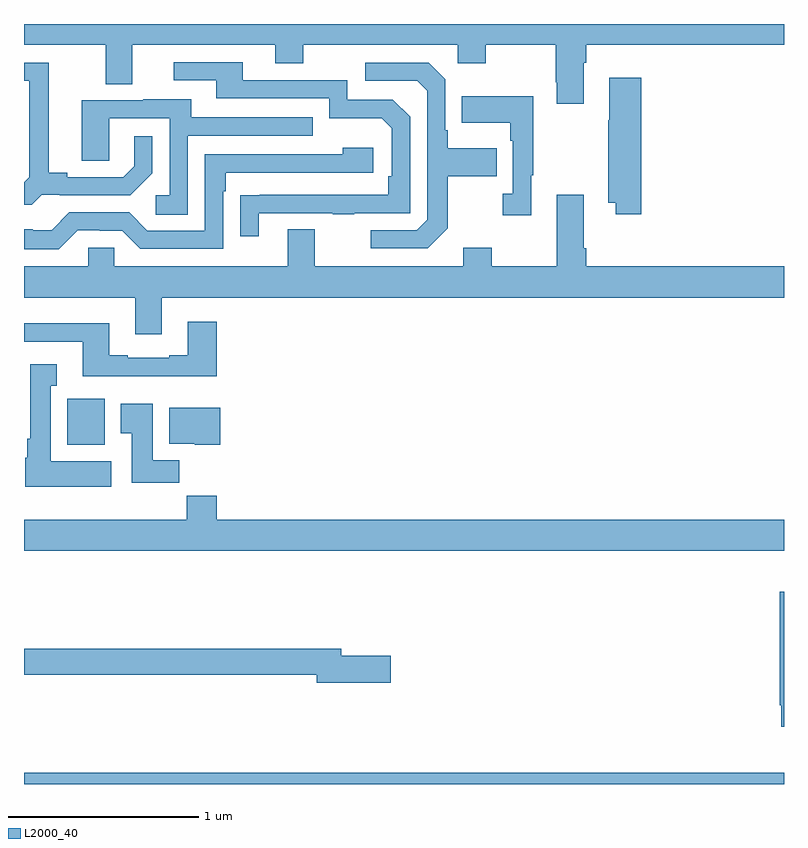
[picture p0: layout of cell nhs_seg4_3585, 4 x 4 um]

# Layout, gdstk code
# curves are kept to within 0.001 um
import gdstk
lib = gdstk.Library(unit=1e-6, precision=1e-09)
def R(c, l, rs):  # rectangles x0, y0, x1, y1
    for r in rs: c.add(gdstk.rectangle(r[:2], r[2:], *l))
def P(c, l, *ps):  # polygons
    for p in ps: c.add(gdstk.Polygon(p, *l))
L2000_40 = (2000, 40)

nhs_seg4_3585 = lib.new_cell('nhs_seg4_3585')
R(nhs_seg4_3585, L2000_40, [(299,820.9,303,820.96), (299.228,822.686,299.425,822.928)])
P(nhs_seg4_3585, L2000_40, [(301.945,824.696),(301.958,824.696),(301.958,824.792),(303,824.792),(303,824.9),(299,824.9),(299,824.792),(299.429,824.792),(299.429,824.584),(299.569,824.584),(299.569,824.792),(300.323,824.792),(300.323,824.693),(300.471,824.693),(300.471,824.792),(301.284,824.792),(301.284,824.693),(301.431,824.693),(301.431,824.792),(301.798,824.792),(301.798,824.593),(301.805,824.593),(301.805,824.481),(301.945,824.481)],
  [(300.235,823.905),(300.625,823.905),(300.625,823.9),(300.737,823.9),(300.737,823.905),(301.032,823.905),(301.032,824.412),(300.942,824.502),(300.702,824.502),(300.702,824.604),(300.151,824.604),(300.151,824.7),(299.787,824.7),(299.787,824.604),(300.011,824.604),(300.011,824.508),(300.606,824.508),(300.606,824.405),(300.883,824.405),(300.936,824.352),(300.936,824.098),(300.916,824.098),(300.916,824.001),(300.139,824),(300.139,823.782),(300.235,823.782)],
  [(299.094,824.001),(299.188,824.001),(299.188,823.998),(299.56,823.998),(299.676,824.114),(299.676,824.308),(299.579,824.308),(299.579,824.151),(299.522,824.094),(299.227,824.094),(299.227,824.117),(299.131,824.117),(299.131,824.697),(299,824.697),(299,824.601),(299.027,824.601),(299.027,824.093),(299,824.066),(299,823.949),(299.042,823.949)],
  [(301.231,823.825),(301.231,824.098),(301.487,824.098),(301.487,824.245),(301.231,824.245),(301.231,824.341),(301.218,824.341),(301.218,824.61),(301.131,824.697),(300.795,824.697),(300.795,824.601),(301.071,824.601),(301.122,824.55),(301.122,823.869),(301.068,823.815),(300.825,823.815),(300.825,823.719),(301.125,823.719)],
  [(302.249,824.617),(302.081,824.617),(302.081,824.393),(302.074,824.393),(302.074,823.958),(302.114,823.958),(302.114,823.899),(302.249,823.899)],
  [(301.669,824.105),(301.681,824.105),(301.681,824.521),(301.303,824.521),(301.303,824.381),(301.56,824.381),(301.56,824.285),(301.572,824.285),(301.572,824.006),(301.521,824.006),(301.521,823.893),(301.669,823.893)],
  [(299.862,824.313),(300.521,824.313),(300.521,824.409),(299.881,824.409),(299.881,824.503),(299.627,824.503),(299.627,824.499),(299.303,824.499),(299.303,824.179),(299.448,824.179),(299.448,824.403),(299.766,824.403),(299.766,823.998),(299.694,823.998),(299.694,823.897),(299.862,823.897)],
  [(299.283,823.815),(299.399,823.815),(299.399,823.812),(299.517,823.812),(299.613,823.716),(300.048,823.716),(300.048,824.021),(300.061,824.021),(300.061,824.118),(300.838,824.118),(300.838,824.248),(300.677,824.248),(300.677,824.214),(299.952,824.214),(299.952,823.812),(299.649,823.812),(299.553,823.908),(299.238,823.908),(299.145,823.815),(299.045,823.815),(299.045,823.819),(299,823.819),(299,823.715),(299.183,823.715)],
  [(299.725,823.46),(303,823.46),(303,823.624),(301.958,823.624),(301.958,823.72),(301.945,823.72),(301.945,824.002),(301.805,824.002),(301.805,823.624),(301.461,823.624),(301.461,823.723),(301.313,823.723),(301.313,823.624),(300.529,823.624),(300.529,823.819),(300.389,823.819),(300.389,823.624),(299.475,823.624),(299.475,823.722),(299.337,823.722),(299.337,823.624),(299,823.624),(299,823.46),(299.585,823.46),(299.585,823.266),(299.725,823.266)],
  [(300.014,823.333),(299.861,823.333),(299.861,823.156),(299.765,823.156),(299.765,823.143),(299.545,823.143),(299.545,823.156),(299.449,823.156),(299.449,823.324),(299,823.324),(299,823.227),(299.309,823.227),(299.309,823.046),(300.014,823.046)],
  [(299.458,822.598),(299.14,822.598),(299.14,822.995),(299.173,822.995),(299.173,823.108),(299.033,823.108),(299.033,822.718),(299.018,822.718),(299.018,822.618),(299.006,822.618),(299.006,822.464),(299.458,822.464)],
  [(299.816,822.604),(299.677,822.604),(299.677,822.901),(299.51,822.901),(299.51,822.745),(299.567,822.745),(299.567,822.486),(299.816,822.486)],
  [(300.034,822.88),(299.765,822.88),(299.765,822.692),(299.898,822.692),(299.898,822.686),(300.034,822.686)],
  [(303,822.292),(300.014,822.292),(300.014,822.416),(299.857,822.416),(299.857,822.292),(299,822.292),(299,822.128),(303,822.128)],
  [(303,821.912),(302.977,821.912),(302.977,821.314),(302.985,821.314),(302.985,821.202),(303,821.202)],
  [(300.931,821.576),(300.67,821.576),(300.67,821.612),(299,821.612),(299,821.476),(300.542,821.476),(300.542,821.434),(300.931,821.434)])

lib.write_gds('nhs_seg4_3585.gds')
